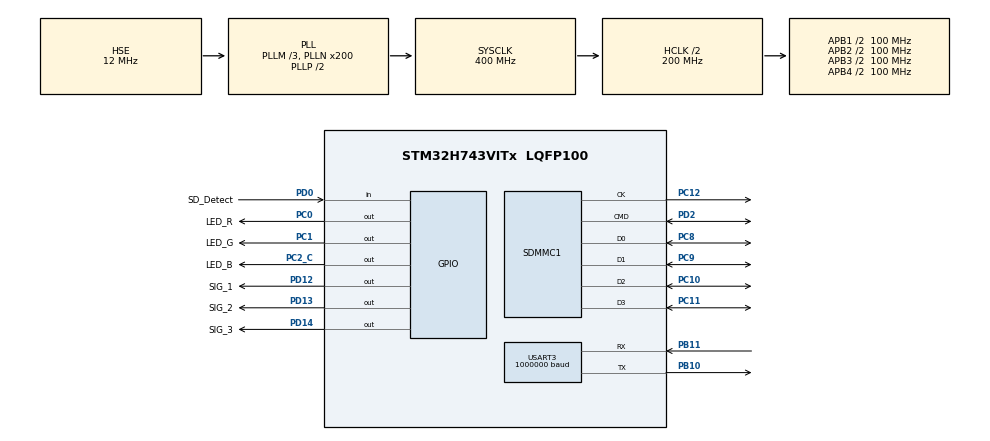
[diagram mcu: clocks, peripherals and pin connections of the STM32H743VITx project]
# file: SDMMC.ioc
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Dma.Request0=USART3_TX
Dma.Request1=USART3_RX
Dma.USART3_RX.1.Direction=DMA_PERIPH_TO_MEMORY
Dma.USART3_RX.1.EventEnable=DISABLE
Dma.USART3_RX.1.FIFOMode=DMA_FIFOMODE_DISABLE
Dma.USART3_RX.1.Instance=DMA1_Stream1
Dma.USART3_RX.1.MemDataAlignment=DMA_MDATAALIGN_BYTE
Dma.USART3_RX.1.MemInc=DMA_MINC_ENABLE
Dma.USART3_RX.1.Mode=DMA_NORMAL
Dma.USART3_RX.1.PeriphDataAlignment=DMA_PDATAALIGN_BYTE
Dma.USART3_RX.1.PeriphInc=DMA_PINC_DISABLE
Dma.USART3_RX.1.Polarity=HAL_DMAMUX_REQ_GEN_RISING
Dma.USART3_RX.1.Priority=DMA_PRIORITY_LOW
Dma.USART3_RX.1.RequestNumber=1
Dma.USART3_RX.1.SignalID=NONE
Dma.USART3_RX.1.SyncEnable=DISABLE
Dma.USART3_RX.1.SyncPolarity=HAL_DMAMUX_SYNC_NO_EVENT
Dma.USART3_RX.1.SyncRequestNumber=1
Dma.USART3_RX.1.SyncSignalID=NONE
Dma.USART3_TX.0.Direction=DMA_MEMORY_TO_PERIPH
Dma.USART3_TX.0.EventEnable=DISABLE
Dma.USART3_TX.0.FIFOMode=DMA_FIFOMODE_DISABLE
Dma.USART3_TX.0.Instance=DMA1_Stream0
Dma.USART3_TX.0.MemDataAlignment=DMA_MDATAALIGN_BYTE
Dma.USART3_TX.0.MemInc=DMA_MINC_ENABLE
Dma.USART3_TX.0.Mode=DMA_NORMAL
Dma.USART3_TX.0.PeriphDataAlignment=DMA_PDATAALIGN_BYTE
Dma.USART3_TX.0.PeriphInc=DMA_PINC_DISABLE
Dma.USART3_TX.0.Polarity=HAL_DMAMUX_REQ_GEN_RISING
Dma.USART3_TX.0.Priority=DMA_PRIORITY_LOW
Dma.USART3_TX.0.RequestNumber=1
Dma.USART3_TX.0.SignalID=NONE
Dma.USART3_TX.0.SyncEnable=DISABLE
Dma.USART3_TX.0.SyncPolarity=HAL_DMAMUX_SYNC_NO_EVENT
Dma.USART3_TX.0.SyncRequestNumber=1
Dma.USART3_TX.0.SyncSignalID=NONE
Mcu.Family=STM32H7
Mcu.Name=STM32H743VITx
Mcu.Package=LQFP100
Mdma.MDMA_Channel0.Request0=SDMMC1_END_DATA
Mdma.MDMA_Channel0.RequestsNb=1
Mdma.MDMA_Channel0.SDMMC1_END_DATA.0.BlockCount=0
Mdma.MDMA_Channel0.SDMMC1_END_DATA.0.BlockDataLength=0
Mdma.MDMA_Channel0.SDMMC1_END_DATA.0.BufferTransferLength=1
Mdma.MDMA_Channel0.SDMMC1_END_DATA.0.CircularMode=MDMA_LINEAR_LIST
Mdma.MDMA_Channel0.SDMMC1_END_DATA.0.DataAlignment=MDMA_DATAALIGN_PACKENABLE
Mdma.MDMA_Channel0.SDMMC1_END_DATA.0.DestBlockAddressOffset=0
Mdma.MDMA_Channel0.SDMMC1_END_DATA.0.DestBurst=MDMA_DEST_BURST_SINGLE
Mdma.MDMA_Channel0.SDMMC1_END_DATA.0.DestDataSize=MDMA_DEST_DATASIZE_BYTE
Mdma.MDMA_Channel0.SDMMC1_END_DATA.0.DestinationInc=MDMA_DEST_INC_BYTE
Mdma.MDMA_Channel0.SDMMC1_END_DATA.0.DstAddress=0
Mdma.MDMA_Channel0.SDMMC1_END_DATA.0.Endianness=MDMA_LITTLE_ENDIANNESS_PRESERVE
Mdma.MDMA_Channel0.SDMMC1_END_DATA.0.Instance=MDMA_Channel0
Mdma.MDMA_Channel0.SDMMC1_END_DATA.0.MaskAddress=0
Mdma.MDMA_Channel0.SDMMC1_END_DATA.0.MaskData=0
Mdma.MDMA_Channel0.SDMMC1_END_DATA.0.Priority=MDMA_PRIORITY_HIGH
Mdma.MDMA_Channel0.SDMMC1_END_DATA.0.Rank=First
Mdma.MDMA_Channel0.SDMMC1_END_DATA.0.SourceBlockAddressOffset=0
Mdma.MDMA_Channel0.SDMMC1_END_DATA.0.SourceBurst=MDMA_SOURCE_BURST_SINGLE
Mdma.MDMA_Channel0.SDMMC1_END_DATA.0.SourceDataSize=MDMA_SRC_DATASIZE_BYTE
Mdma.MDMA_Channel0.SDMMC1_END_DATA.0.SourceInc=MDMA_SRC_INC_BYTE
Mdma.MDMA_Channel0.SDMMC1_END_DATA.0.SrcAddress=0
Mdma.MDMA_Channel0.SDMMC1_END_DATA.0.TransferTriggerMode=MDMA_BUFFER_TRANSFER
Mdma.RequestSet0=MDMA_Channel0
Mdma.RequestSetsNb=1
NVIC.DMA1_Stream0_IRQn=true\:0\:0\:false\:false\:true\:false\:true
NVIC.DMA1_Stream1_IRQn=true\:0\:0\:false\:false\:true\:false\:true
NVIC.PriorityGroup=NVIC_PRIORITYGROUP_4
NVIC.SDMMC1_IRQn=true\:0\:0\:false\:false\:true\:true\:true
PB10.Mode=Asynchronous
PB10.Signal=USART3_TX
PB11.Mode=Asynchronous
PB11.Signal=USART3_RX
PC0.GPIO_Label=LED_R
PC0.PinState=GPIO_PIN_SET
PC0.Signal=GPIO_Output
PC1.GPIO_Label=LED_G
PC1.PinState=GPIO_PIN_SET
PC1.Signal=GPIO_Output
PC10.Mode=SD_4_bits_Wide_bus
PC10.Signal=SDMMC1_D2
PC11.Mode=SD_4_bits_Wide_bus
PC11.Signal=SDMMC1_D3
PC12.Mode=SD_4_bits_Wide_bus
PC12.Signal=SDMMC1_CK
PC2_C.GPIO_Label=LED_B
PC2_C.PinState=GPIO_PIN_SET
PC2_C.Signal=GPIO_Output
PC8.Mode=SD_4_bits_Wide_bus
PC8.Signal=SDMMC1_D0
PC9.Mode=SD_4_bits_Wide_bus
PC9.Signal=SDMMC1_D1
PD0.GPIO_Label=SD_Detect
PD0.Signal=GPIO_Input
PD12.GPIO_Label=SIG_1
PD12.Signal=GPIO_Output
PD13.GPIO_Label=SIG_2
PD13.Signal=GPIO_Output
PD14.GPIO_Label=SIG_3
PD14.Signal=GPIO_Output
PD2.Mode=SD_4_bits_Wide_bus
PD2.Signal=SDMMC1_CMD
PH0-OSC_IN\ (PH0).Mode=HSE-External-Oscillator
PH0-OSC_IN\ (PH0).Signal=RCC_OSC_IN
PH1-OSC_OUT\ (PH1).Mode=HSE-External-Oscillator
PH1-OSC_OUT\ (PH1).Signal=RCC_OSC_OUT
ProjectManager.HeapSize=0x200
ProjectManager.StackSize=0x400
ProjectManager.TargetToolchain=Makefile
RCC.ADCFreq_Value=24187500
RCC.APB1Freq_Value=100000000
RCC.APB2Freq_Value=100000000
RCC.APB3Freq_Value=100000000
RCC.APB4Freq_Value=100000000
RCC.CortexFreq_Value=400000000
RCC.D1PPRE=RCC_APB3_DIV2
RCC.D2PPRE1=RCC_APB1_DIV2
RCC.D2PPRE2=RCC_APB2_DIV2
RCC.D3PPRE=RCC_APB4_DIV2
RCC.DIVM1=3
RCC.DIVN1=200
RCC.DIVQ1=4
RCC.HCLKFreq_Value=200000000
RCC.HPRE=RCC_HCLK_DIV2
RCC.HSE_VALUE=12000000
RCC.PLLSourceVirtual=RCC_PLLSOURCE_HSE
RCC.PWR_Regulator_Voltage_Scale=PWR_REGULATOR_VOLTAGE_SCALE0
RCC.SYSCLKFreq_VALUE=400000000
RCC.SYSCLKSource=RCC_SYSCLKSOURCE_PLLCLK
RCC.USBFreq_Value=200000000
SDMMC1.ClockDiv=2
SDMMC1.USE_SD_TRANSCEIVER=0U
USART3.BaudRate=1000000
USART3.VirtualMode-Asynchronous=VM_ASYNC
board=custom

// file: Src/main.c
/* USER CODE BEGIN Header */
/**
  ******************************************************************************
  * @file           : main.c
  * @brief          : Main program body
  ******************************************************************************
  * @attention
  *
  * <h2><center>&copy; Copyright (c) 2019 STMicroelectronics.
  * All rights reserved.</center></h2>
  *
  * This software component is licensed by ST under Ultimate Liberty license
  * SLA0044, the "License"; You may not use this file except in compliance with
  * the License. You may obtain a copy of the License at:
  *                             www.st.com/SLA0044
  *
  ******************************************************************************
  */
/* USER CODE END Header */

#include "main.h"
#include "dma.h"
#include "mdma.h"
#include "sdmmc.h"
#include "usart.h"
#include "gpio.h"

/* USER CODE BEGIN PD */
#define BUFF_BYTES 256
/* USER CODE END PD */

/* USER CODE BEGIN PV */
extern uint8_t _bla[1024 * BUFF_BYTES];
extern uint8_t _blu[1024 * BUFF_BYTES];

/* USER CODE END PV */

void SystemClock_Config(void);
/* USER CODE BEGIN PFP */
//uint8_t test_file_append ();

/* USER CODE END PFP */

int main(void)
{

  /* MCU Configuration--------------------------------------------------------*/

  /* Reset of all peripherals, Initializes the Flash interface and the Systick. */
  HAL_Init();

  /* Configure the system clock */
  SystemClock_Config();

  /* Initialize all configured peripherals */
  MX_GPIO_Init();
  MX_DMA_Init();
  MX_MDMA_Init();
  MX_SDMMC1_SD_Init();
  MX_USART3_UART_Init();
  /* USER CODE BEGIN 2 */

  printf("Hello world from SDMMC testing app\n");

  printf("Bla address 0x%x Blu address 0x%x\n", _bla, _blu);

//  HAL_SD_InitCard (&hsd1);

  uint32_t buff_size = 1024 * BUFF_BYTES;

  uint32_t status;
  memset(_bla, 0x35, buff_size);
  memset(_blu, 0, buff_size);

  HAL_Delay (100);

//  status = HAL_SD_ConfigSpeedBusOperation (&hsd1, SDMMC_HSpeed_CLK_DIV);
  status = HAL_SD_ConfigWideBusOperation (&hsd1, SDMMC_BUS_WIDE_4B);
  printf("Bus status : %d %d, Bus 0x%x, clk_div/2 %d\n", status, hsd1.ErrorCode,
         hsd1.Init.BusWide, hsd1.Init.ClockDiv);

  printf("SD Card Info : %d %d\n", hsd1.SdCard.CardType,
         hsd1.SdCard.CardVersion);

  printf("Block info : %d %d %d %d\n",hsd1.SdCard.BlockSize, hsd1.SdCard.BlockNbr,
         hsd1.SdCard.LogBlockSize, hsd1.SdCard.LogBlockNbr);

  printf("Blu before : %x %x %x %x\n", _blu[0], _blu[256], _blu[512], _blu[1023]);

  printf("Bla before : %x %x %x %x\n", _bla[0], _bla[256], _bla[512], _bla[1023]);

  printf("Length : %d\n", buff_size/hsd1.SdCard.BlockSize);
//  HAL_GPIO_TogglePin (SIG_1_GPIO_Port, SIG_1_Pin);
  status = HAL_SD_WriteBlocks_DMA (&hsd1, _bla, hsd1.SdCard.BlockNbr/2, buff_size/hsd1.SdCard.BlockSize);
  while (hsd1.State != HAL_SD_STATE_READY);
  HAL_GPIO_TogglePin (SIG_1_GPIO_Port, SIG_1_Pin);
  printf("Write status : status %d, state %d ,Error code %d, Context 0x%x\n", status, hsd1.State, hsd1.ErrorCode, hsd1.Context);

  HAL_Delay (100);
//  while(hsd1.ErrorCode == HAL_SD_ERROR_NONE);

  status = HAL_SD_ReadBlocks_DMA (&hsd1, _blu, hsd1.SdCard.BlockNbr/2, buff_size/hsd1.SdCard.BlockSize);
  printf("Read status : status %d, state %d ,Error code %d, Context 0x%x\n", status, hsd1.State, hsd1.ErrorCode, hsd1.Context);

  HAL_Delay (10);
  printf("Blu after : %x %x %x %x\n", _blu[0], _blu[256], _blu[512], _blu[1023]);

  /* USER CODE END 2 */

  /* Infinite loop */
  while (1)
  {

  }
}

void SystemClock_Config(void)
{
  RCC_OscInitTypeDef RCC_OscInitStruct = {0};
  RCC_ClkInitTypeDef RCC_ClkInitStruct = {0};
  RCC_PeriphCLKInitTypeDef PeriphClkInitStruct = {0};

  /** Supply configuration update enable
  */
  HAL_PWREx_ConfigSupply(PWR_LDO_SUPPLY);
  /** Configure the main internal regulator output voltage
  */
  __HAL_PWR_VOLTAGESCALING_CONFIG(PWR_REGULATOR_VOLTAGE_SCALE0);

  while(!__HAL_PWR_GET_FLAG(PWR_FLAG_VOSRDY)) {}
  /** Initializes the CPU, AHB and APB busses clocks
  */
  RCC_OscInitStruct.OscillatorType = RCC_OSCILLATORTYPE_HSE;
  RCC_OscInitStruct.HSEState = RCC_HSE_ON;
  RCC_OscInitStruct.PLL.PLLState = RCC_PLL_ON;
  RCC_OscInitStruct.PLL.PLLSource = RCC_PLLSOURCE_HSE;
  RCC_OscInitStruct.PLL.PLLM = 3;
  RCC_OscInitStruct.PLL.PLLN = 200;
  RCC_OscInitStruct.PLL.PLLP = 2;
  RCC_OscInitStruct.PLL.PLLQ = 4;
  RCC_OscInitStruct.PLL.PLLR = 2;
  RCC_OscInitStruct.PLL.PLLRGE = RCC_PLL1VCIRANGE_2;
  RCC_OscInitStruct.PLL.PLLVCOSEL = RCC_PLL1VCOWIDE;
  RCC_OscInitStruct.PLL.PLLFRACN = 0;
  if (HAL_RCC_OscConfig(&RCC_OscInitStruct) != HAL_OK)
  {
    Error_Handler();
  }
  /** Initializes the CPU, AHB and APB busses clocks
  */
  RCC_ClkInitStruct.ClockType = RCC_CLOCKTYPE_HCLK|RCC_CLOCKTYPE_SYSCLK
                              |RCC_CLOCKTYPE_PCLK1|RCC_CLOCKTYPE_PCLK2
                              |RCC_CLOCKTYPE_D3PCLK1|RCC_CLOCKTYPE_D1PCLK1;
  RCC_ClkInitStruct.SYSCLKSource = RCC_SYSCLKSOURCE_PLLCLK;
  RCC_ClkInitStruct.SYSCLKDivider = RCC_SYSCLK_DIV1;
  RCC_ClkInitStruct.AHBCLKDivider = RCC_HCLK_DIV2;
  RCC_ClkInitStruct.APB3CLKDivider = RCC_APB3_DIV2;
  RCC_ClkInitStruct.APB1CLKDivider = RCC_APB1_DIV2;
  RCC_ClkInitStruct.APB2CLKDivider = RCC_APB2_DIV2;
  RCC_ClkInitStruct.APB4CLKDivider = RCC_APB4_DIV2;

  if (HAL_RCC_ClockConfig(&RCC_ClkInitStruct, FLASH_LATENCY_2) != HAL_OK)
  {
    Error_Handler();
  }
  PeriphClkInitStruct.PeriphClockSelection = RCC_PERIPHCLK_USART3|RCC_PERIPHCLK_SDMMC;
  PeriphClkInitStruct.SdmmcClockSelection = RCC_SDMMCCLKSOURCE_PLL;
  PeriphClkInitStruct.Usart234578ClockSelection = RCC_USART234578CLKSOURCE_D2PCLK1;
  if (HAL_RCCEx_PeriphCLKConfig(&PeriphClkInitStruct) != HAL_OK)
  {
    Error_Handler();
  }
}

/* USER CODE BEGIN 4 */
//
//uint8_t test_file_append ()
//{
//    static uint32_t res;
//    uint32_t byteswritten;
//    uint8_t p_data[512];
//    uint32_t len = sizeof(p_data);
//    for(uint32_t i = 0; i < len-1; i++)
//    {
//        p_data[i] = i%255;
//    }
//    p_data[len-1] = '\n';
////    res = f_mount (&SDFatFS, (TCHAR const *)SDPath, 0);
////    if(res == FR_OK)
//    {
////        if(f_open (&p_file, "bla_bla.txt", FA_OPEN_APPEND | FA_READ | FA_WRITE) == FR_OK)
//        {
//            HAL_GPIO_WritePin (SIG_2_GPIO_Port, SIG_2_Pin, 0);
//            res = f_write (&p_file, p_data, len, (void *)byteswritten);
//            if((res == FR_OK))
//            {
//                HAL_GPIO_WritePin (SIG_2_GPIO_Port, SIG_2_Pin, 1);
////                f_close(&p_file);
//            }
//        }
////        else
////        {
////            printf("Append fail\n");
////        }
//    }
////    else
////    {
////        printf("Mount Fail\n");
////    }
//    return res;
//
//}

/* USER CODE END 4 */

void Error_Handler(void)
{
}

/************************ (C) COPYRIGHT STMicroelectronics *****END OF FILE****/
